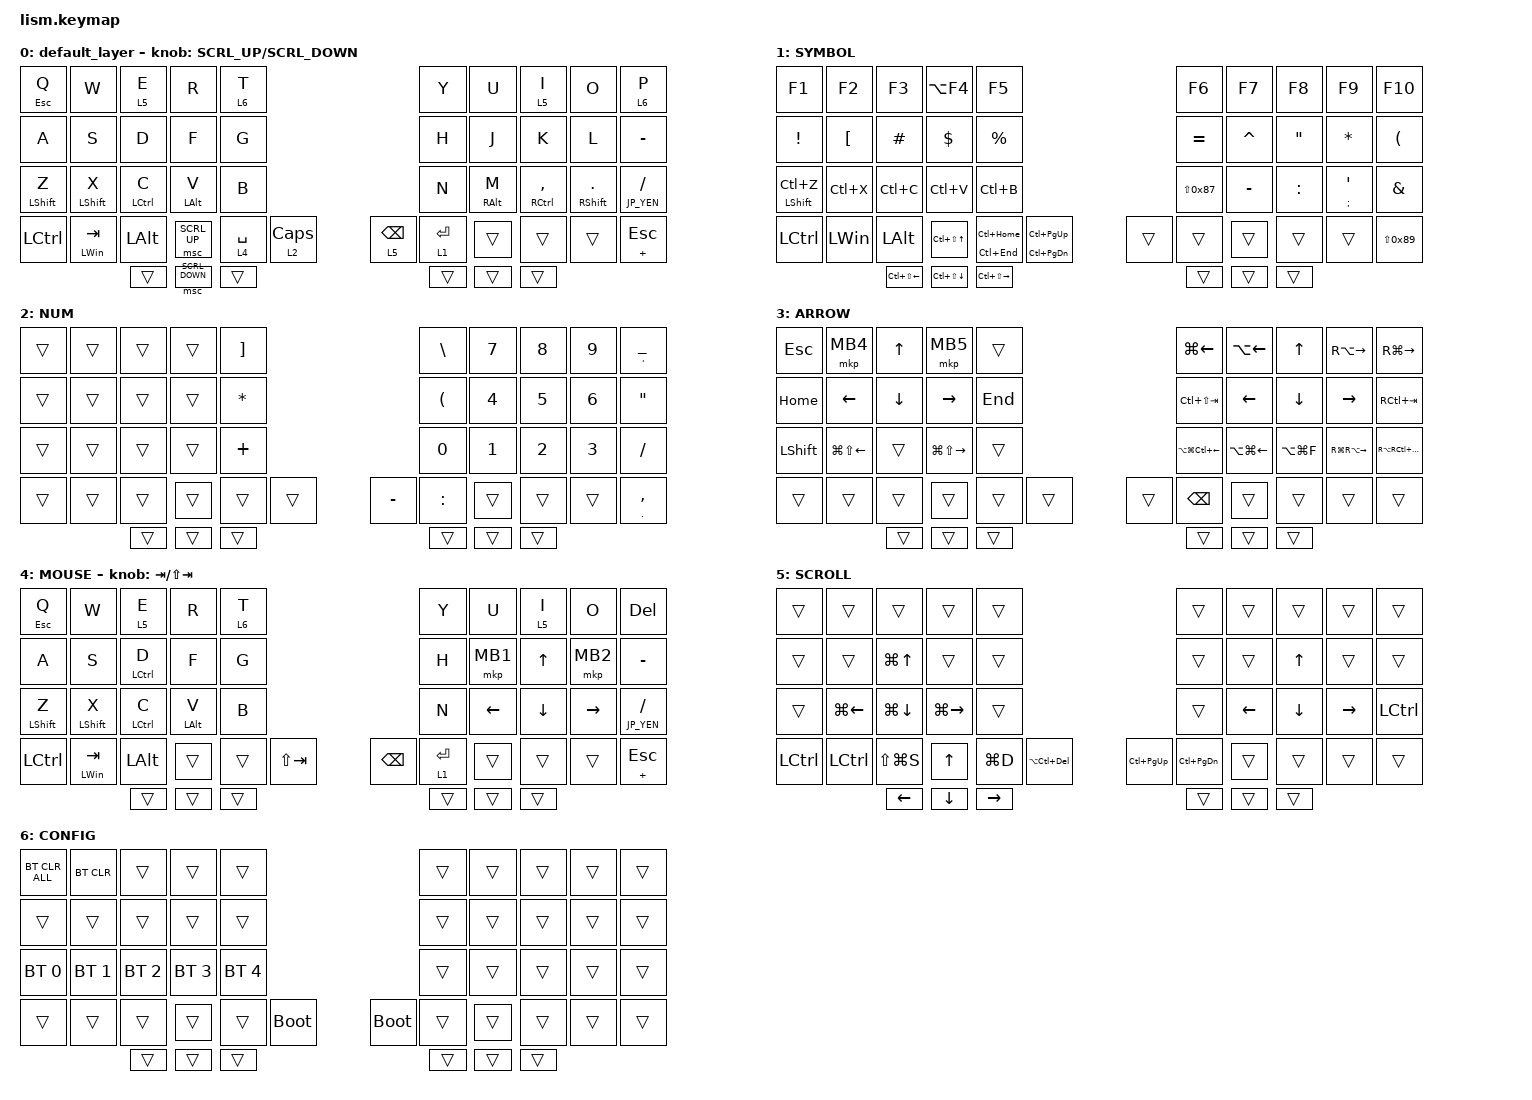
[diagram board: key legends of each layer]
#define ZMK_POINTING_DEFAULT_SCRL_VAL 200

#include <behaviors.dtsi>
#include <dt-bindings/zmk/bt.h>
#include <dt-bindings/zmk/keys.h>
#include <dt-bindings/zmk/pointing.h>
#include <dt-bindings/zmk/mouse.h>

// OS設定を日本語キーボードのまま使用するための変換定義
#define JP_DQUOTE       AT                // "
#define JP_AMPERSAND    CARET             // &
#define JP_QUOTE        AMPERSAND         // '
#define JP_EQUAL        UNDER             // =
#define JP_CARET        EQUAL             // ^
#define JP_YEN          0x89              // ¥
#define JP_PLUS         COLON             // +
#define JP_TILDE        PLUS              // ~
#define JP_PIPE         LS(0x89)          // |
#define JP_AT           LEFT_BRACKET      // @
#define JP_COLON        SINGLE_QUOTE      // :
#define JP_ASTERISK     DOUBLE_QUOTES     // *
#define JP_BACKQUOTE    LEFT_BRACE        // `
#define JP_UNDERSCORE   LS(0x87)          // _
#define JP_LBRACKET     RIGHT_BRACKET     // [
#define JP_RBRACKET     BACKSLASH         // ]
#define JP_LPAREN       ASTERISK          // (
#define JP_RPAREN       LEFT_PARENTHESIS  // )
#define JP_LBRACE       RIGHT_BRACE       // {
#define JP_RBRACE       PIPE              // }
#define JP_KANA         LANGUAGE_1        // かな
#define JP_EISU         LANGUAGE_2        // 英数
#define JP_HANZEN       GRAVE             // 半角/全角

/******************************************
左手側                                                    右手側
┌──────┬──────┬──────┬──────┬──────┬──────┐    ┌──────┬──────┬──────┬──────┬──────┬──────┐
│   0  │   1  │   2  │   3  │   4  │      │    │      │   5  │   6  │   7  │   8  │   9  │
├──────┼──────┼──────┼──────┼──────┼──────┤    ├──────┼──────┼──────┼──────┼──────┼──────┤
│  10  │  11  │  12  │  13  │  14  │      │    │      │  15  │  16  │  17  │  18  │  19  │
├──────┼──────┼──────┼──────┼──────┼──────┤    ├──────┼──────┼──────┼──────┼──────┼──────┤
│  20  │  21  │  22  │  23  │  24  │      │    │      │  25  │  26  │  27  │  28  │  29  │
├──────┼──────┼──────┼──────┼──────┼──────┤    ├──────┼──────┼──────┼──────┼──────┼──────┤
│  30  │  31  │  32  │  33  │  34  │  35  │    │  36  │  37  │  38  │  39  │  40  │  41  │
└──────┴──────┼──────┬──────┬──────┼──────┘    └──────┼──────┬──────┬──────┼──────┴──────┘
              │  42  │  43  │  44  │                  │  45  │  46  │  47  │
              └──────┴──────┴──────┘                  └──────┴──────┴──────┘
******************************************/

&mt {
    tapping-term-ms = <300>;
    flavor = "balanced";
};

&lt {
    quick-tap-ms = <300>;
};


/ {
// コンボ追加
    combos {
        compatible = "zmk,combos";

        combo_del {
            timeout-ms = <50>;
            key-positions = <9 19>;
            bindings = <&kp DELETE>;
        };

        combo_lc_pgup {
            timeout-ms = <50>;
            key-positions = <34 35>;
            bindings = <&lt 4 LC(PAGE_UP)>;
        };

        combo_lc_pgdn {
            timeout-ms = <50>;
            key-positions = <36 37>;
            bindings = <&kp LC(PAGE_DOWN)>;
        };

        combo_lclk {
            timeout-ms = <50>;
            key-positions = <16 17>;
            bindings = <&mkp LCLK>;
        };

        combo_rclk {
            timeout-ms = <50>;
            key-positions = <17 18>;
            bindings = <&mkp RCLK>;
        };

        combo_mclk {
            bindings = <&mkp MCLK>;
            key-positions = <16 18>;
        };

        combo_esc {
            bindings = <&kp ESCAPE>;
            key-positions = <11 12>;
        };

        combo_tab {
            bindings = <&kp TAB>;
            key-positions = <12 13>;
        };
    };
// 追加ここまで

    macros {
        emoji: emoji_macro {
            compatible = "zmk,behavior-macro";
            label = "EMOJI";
            #binding-cells = <0>;
            bindings = 
                <&macro_press &kp CAPSLOCK>,
                <&macro_tap &kp E>,
                <&macro_release &kp CAPSLOCK>;
        };
    };

    behaviors {
        encoder_msc: sensor_rotate_msc {
            compatible = "zmk,behavior-sensor-rotate-var";
            #sensor-binding-cells = <2>;
            bindings = <&msc>, <&msc>;
            tap-ms = <20>;
        };

        encoder_kp: sensor_rotate_kp {
            compatible = "zmk,behavior-sensor-rotate-var";
            #sensor-binding-cells = <2>;
            bindings = <&kp>, <&kp>;
        };
    };

    keymap {
        compatible = "zmk,keymap";

        default_layer {
/***************
左手側                                                    右手側
┌──────┬──────┬──────┬──────┬──────┬──────┐    ┌──────┬──────┬──────┬──────┬──────┬──────┐
│   q  │   w  │   e  │   r  │   t  │      │    │      │   y  │   u  │   i  │   o  │   p  │
├──────┼──────┼──────┼──────┼──────┼──────┤    ├──────┼──────┼──────┼──────┼──────┼──────┤
│   a  │   s  │   d  │   f  │   g  │      │    │      │   h  │   j  │   k  │   l  │   -  │
├──────┼──────┼──────┼──────┼──────┼──────┤    ├──────┼──────┼──────┼──────┼──────┼──────┤
│   z  │   x  │   c  │   v  │   b  │      │    │      │   n  │   m  │   ,  │   .  │   /  │
├──────┼──────┼──────┼──────┼──────┼──────┤    ├──────┼──────┼──────┼──────┼──────┼──────┤
│ ctrl │  win │  alt │      │  sp  │ cpas │    │  bs  │  ent │      │      │      │  esc │
└──────┴──────┼──────┬──────┬──────┼──────┘    └──────┼──────┬──────┬──────┼──────┴──────┘
              │      │      │      │                  │      │      │      │
              └──────┴──────┴──────┘                  └──────┴──────┴──────┘
***************/
            bindings = <
&mt ESCAPE Q      &kp W             &lt 5 E       &kp R           &lt 6 T                                     &kp Y        &kp U            &lt 5 I          &kp O                   &lt 6 P
&kp A             &kp S             &kp D         &kp F           &kp G                                       &kp H        &kp J            &kp K            &kp L                   &kp MINUS
&mt LEFT_SHIFT Z  &mt LEFT_SHIFT X  &mt LCTRL C   &mt LEFT_ALT V  &kp B                                       &kp N        &mt RIGHT_ALT M  &mt RCTRL COMMA  &mt RIGHT_SHIFT PERIOD  &mt JP_YEN SLASH
&kp LCTRL         &mt LEFT_WIN TAB  &kp LEFT_ALT  &msc SCRL_UP    &lt 4 SPACE  &lt 2 CAPS      &lt 5 BACKSPACE  &lt 1 ENTER  &trans           &trans           &trans                  &mt JP_TILDE ESCAPE
                                    &trans        &msc SCRL_DOWN  &trans                       &trans &trans &trans
            >;

            // sensor-bindings = <&inc_dec_kp PG_UP PAGE_DOWN>;
			// sensor-bindings = <&encoder_msc_down_up>;
           sensor-bindings = <&encoder_msc SCRL_UP SCRL_DOWN>;

        };

        SYMBOL {
/***************
左手側                                                    右手側
┌──────┬──────┬──────┬──────┬──────┬──────┐    ┌──────┬──────┬──────┬──────┬──────┬──────┐
│  f1  │  f2  │  f3  │  f4  │  f5  │      │    │      │  f6  │  f7  │  f8  │  f9  │  f10 │
├──────┼──────┼──────┼──────┼──────┼──────┤    ├──────┼──────┼──────┼──────┼──────┼──────┤
│   !  │   @  │   #  │   $  │   %  │      │    │      │   ^  │   &  │   *  │   (  │   )  │
├──────┼──────┼──────┼──────┼──────┼──────┤    ├──────┼──────┼──────┼──────┼──────┼──────┤
│  c+z │  c+x │  c+c │  c+v │  c+b │      │    │      │   _  │   -  │   +  │   :  │   '  │
├──────┼──────┼──────┼──────┼──────┼──────┤    ├──────┼──────┼──────┼──────┼──────┼──────┤
│ ctrl │  win │  alt │ c+pu │ c+hm │ c+pd │    │      │      │      │      │      │   |  │
└──────┴──────┼──────┬──────┬──────┼──────┘    └──────┼──────┬──────┬──────┼──────┴──────┘
              │      │      │      │                  │      │      │      │
              └──────┴──────┴──────┘                  └──────┴──────┴──────┘
***************/
            bindings = <
&kp F1                   &kp F2        &kp F3        &kp LA(F4)             &kp F5                                                       &kp F6             &kp F7            &kp F8           &kp F9                   &kp F10
&kp EXCLAMATION          &kp JP_AT     &kp HASH      &kp DOLLAR             &kp PERCENT                                                  &kp JP_CARET       &kp JP_AMPERSAND  &kp JP_ASTERISK  &kp JP_LPAREN            &kp JP_RPAREN
&mt LEFT_SHIFT LC(Z)     &kp LC(X)     &kp LC(C)     &kp LC(V)              &kp LC(B)                                                    &kp JP_UNDERSCORE  &kp MINUS         &kp JP_PLUS      &mt SEMICOLON JP_COLON   &kp JP_QUOTE
&kp LCTRL                &kp LEFT_WIN  &kp LEFT_ALT  &kp LC(LS(UP_ARROW))   &mt LC(END) LC(HOME)    &mt LC(PAGE_DOWN) LC(PAGE_UP)  &trans  &trans             &trans            &trans           &trans                   &kp JP_PIPE
                              &kp LC(LS(LEFT_ARROW)) &kp LC(LS(DOWN_ARROW)) &kp LC(LS(RIGHT_ARROW))                                &trans &trans &trans
            >;
        };

        NUM {
/***************
左手側                                                    右手側
┌──────┬──────┬──────┬──────┬──────┬──────┐    ┌──────┬──────┬──────┬──────┬──────┬──────┐
│      │      │      │      │   [  │      │    │      │   ]  │   7  │   8  │   9  │   =  │
├──────┼──────┼──────┼──────┼──────┼──────┤    ├──────┼──────┼──────┼──────┼──────┼──────┤
│      │      │      │      │   (  │      │    │      │   )  │   4  │   5  │   6  │   *  │
├──────┼──────┼──────┼──────┼──────┼──────┤    ├──────┼──────┼──────┼──────┼──────┼──────┤
│      │      │      │      │   ~  │      │    │      │   0  │   1  │   2  │   3  │   /  │
├──────┼──────┼──────┼──────┼──────┼──────┤    ├──────┼──────┼──────┼──────┼──────┼──────┤
│      │      │      │      │      │      │    │   -  │   +  │      │      │      │   ,  │
└──────┴──────┼──────┬──────┬──────┼──────┘    └──────┼──────┬──────┬──────┼──────┴──────┘
              │      │      │      │                  │      │      │      │
              └──────┴──────┴──────┘                  └──────┴──────┴──────┘
***************/
            bindings = <
&trans  &trans  &trans   &trans   &kp JP_LBRACKET              &kp JP_RBRACKET  &kp NUMBER_7  &kp NUMBER_8  &kp NUMBER_9  &mt JP_COLON JP_EQUAL
&trans  &trans  &trans   &trans   &kp JP_LPAREN                &kp JP_RPAREN    &kp NUMBER_4  &kp NUMBER_5  &kp NUMBER_6  &kp JP_ASTERISK
&trans  &trans  &trans   &trans   &kp JP_TILDE                 &kp NUMBER_0     &kp NUMBER_1  &kp NUMBER_2  &kp NUMBER_3  &kp SLASH
&trans  &trans  &trans   &trans   &trans   &trans      &kp MINUS  &kp JP_PLUS   &trans        &trans        &trans        &mt PERIOD COMMA
&trans &trans &trans &trans &trans &trans
            >;
        };

        ARROW {

            bindings = <
&kp ESCAPE      &mkp MB4                &kp UP_ARROW    &mkp MB5                 &trans                       &kp LG(LEFT_ARROW)          &kp LA(LEFT_ARROW)      &kp UP_ARROW    &kp RA(RIGHT_ARROW)      &kp RG(RIGHT_ARROW)
&kp HOME        &kp LEFT_ARROW          &kp DOWN_ARROW  &kp RIGHT_ARROW          &kp END                      &kp LC(LS(TAB))             &kp LEFT_ARROW          &kp DOWN_ARROW  &kp RIGHT_ARROW          &kp RC(TAB)
&kp LEFT_SHIFT  &kp LG(LS(LEFT_ARROW))  &trans          &kp LG(LS(RIGHT_ARROW))  &trans                       &kp LA(LG(LC(LEFT_ARROW)))  &kp LA(LG(LEFT_ARROW))  &kp LA(LG(F))   &kp RG(RA(RIGHT_ARROW))  &kp RA(RC(RG(RIGHT_ARROW)))
&trans          &trans                  &trans          &trans                   &trans   &trans      &trans  &kp BACKSPACE               &trans                  &trans          &trans                   &trans
&trans &trans &trans &trans &trans &trans
            >;

            // sensor-bindings = <&inc_dec_kp LC(PAGE_UP) LC(PAGE_DOWN)>;
        };

        MOUSE {
/***************
左手側                                                    右手側
┌──────┬──────┬──────┬──────┬──────┬──────┐    ┌──────┬──────┬──────┬──────┬──────┬──────┐
│   q  │   w  │   e  │   r  │   t  │      │    │      │   y  │   u  │  l6  │   o  │   p  │
├──────┼──────┼──────┼──────┼──────┼──────┤    ├──────┼──────┼──────┼──────┼──────┼──────┤
│   a  │   s  │   d  │   f  │   g  │      │    │      │   h  │  mb1 │   ↑  │  mb2 │   -  │
├──────┼──────┼──────┼──────┼──────┼──────┤    ├──────┼──────┼──────┼──────┼──────┼──────┤
│   z  │   x  │   c  │   v  │   b  │      │    │      │   n  │   ←  │   ↓  │   →  │   /  │
├──────┼──────┼──────┼──────┼──────┼──────┤    ├──────┼──────┼──────┼──────┼──────┼──────┤
│ ctrl │  win │  alt │      │      │      │    │  bs  │  ent │      │      │      │  esc │
└──────┴──────┼──────┬──────┬──────┼──────┘    └──────┼──────┬──────┬──────┼──────┴──────┘
              │      │      │      │                  │      │      │      │
              └──────┴──────┴──────┘                  └──────┴──────┴──────┘
***************/
            bindings = <
&mt ESCAPE Q      &kp W             &lt 5 E       &kp R               &lt 6 T                                   &kp Y       &kp U            &lt 5 I         &kp O            &kp DELETE
&kp A             &kp S             &mt LCTRL D   &kp F               &kp G                                     &kp H       &mkp MB1         &kp UP_ARROW    &mkp MB2         &kp MINUS
&mt LEFT_SHIFT Z  &mt LEFT_SHIFT X  &mt LCTRL C   &mt LEFT_ALT V      &kp B                                     &kp N       &kp LEFT_ARROW   &kp DOWN_ARROW  &kp RIGHT_ARROW  &mt JP_YEN SLASH
&kp LCTRL         &mt LEFT_WIN TAB  &kp LEFT_ALT  &trans              &trans    &kp LS(TAB)      &kp BACKSPACE  &lt 1 ENTER &trans           &trans          &trans           &mt JP_TILDE ESCAPE
&trans &trans &trans &trans &trans &trans
            >;

            sensor-bindings = <&inc_dec_kp TAB LS(TAB)>;

        };

        SCROLL {
            bindings = <
&trans     &trans              &trans              &trans               &trans                                        &trans            &trans          &trans          &trans           &trans
&trans     &trans              &kp LG(UP_ARROW)    &trans               &trans                                        &trans            &trans          &kp UP_ARROW    &trans           &trans
&trans     &kp LG(LEFT_ARROW)  &kp LG(DOWN_ARROW)  &kp LG(RIGHT_ARROW)  &trans                                        &trans            &kp LEFT_ARROW  &kp DOWN_ARROW  &kp RIGHT_ARROW  &kp LCTRL
&kp LCTRL  &kp LCTRL           &kp LS(LG(S))       &kp UP_ARROW         &kp LG(D)  &kp LA(LC(DEL))   &kp LC(PAGE_UP)  &kp LC(PAGE_DOWN) &trans          &trans          &trans           &trans
                                  &kp LEFT_ARROW   &kp DOWN_ARROW  &kp RIGHT_ARROW                   &trans &trans &trans
            >;
        };

        CONFIG {
/***************
左手側                                                    右手側
┌──────┬──────┬──────┬──────┬──────┬──────┐    ┌──────┬──────┬──────┬──────┬──────┬──────┐
│cl_all│  clr │      │      │      │      │    │      │      │      │      │      │      │
├──────┼──────┼──────┼──────┼──────┼──────┤    ├──────┼──────┼──────┼──────┼──────┼──────┤
│      │      │      │      │      │      │    │      │      │      │      │      │      │
├──────┼──────┼──────┼──────┼──────┼──────┤    ├──────┼──────┼──────┼──────┼──────┼──────┤
│  bt0 │  bt1 │  bt2 │  bt3 │  bt4 │      │    │      │      │      │      │      │      │
├──────┼──────┼──────┼──────┼──────┼──────┤    ├──────┼──────┼──────┼──────┼──────┼──────┤
│      │      │      │      │      │ boot │    │ boot │      │      │      │      │      │
└──────┴──────┼──────┬──────┬──────┼──────┘    └──────┼──────┬──────┬──────┼──────┴──────┘
              │      │      │      │                  │      │      │      │
              └──────┴──────┴──────┘                  └──────┴──────┴──────┘
***************/
            bindings = <
&bt BT_CLR_ALL  &bt BT_CLR    &trans        &trans        &trans                                      &trans  &trans  &trans  &trans  &trans
&trans          &trans        &trans        &trans        &trans                                      &trans  &trans  &trans  &trans  &trans
&bt BT_SEL 0    &bt BT_SEL 1  &bt BT_SEL 2  &bt BT_SEL 3  &bt BT_SEL 4                                &trans  &trans  &trans  &trans  &trans
&trans          &trans        &trans        &trans        &trans        &bootloader      &bootloader  &trans  &trans  &trans  &trans  &trans
&trans &trans &trans &trans &trans &trans
            >;
        };
    };

/********オリジナルのkeymapセクション
    keymap {
        compatible = "zmk,keymap";

        default_layer {
            display-name = "Default Layer";
            bindings = <
                &kp Q            &kp W              &kp E                 &kp R                   &kp T                                                  &kp Y          &kp U            &kp I              &kp O               &kp P
                &kp A            &mt LALT S         &mt LSHIFT D          &mt LGUI F              &mt LCTRL G                                            &mt RCTRL H    &mt RGUI J       &mt RSHIFT K       &mt RALT L          &lt 3 SEMICOLON
                &kp Z            &kp X              &kp C                 &kp V                   &kp B                                                  &kp N          &kp M            &kp COMMA          &kp DOT             &kp SLASH
                &lt 4 DELETE     &tog 1             &lt 1 TAB             &msc SCRL_UP            &lt 2 SPACE       &lt 3 ESC           &lt 3 BACKSPACE  &lt 2 ENTER    &msc SCRL_UP     &kp F7             &kp F10             &lt 4 F12 
                                                    &msc SCRL_LEFT        &msc SCRL_DOWN          &msc SCRL_RIGHT                                        &msc SCRL_LEFT &msc SCRL_DOWN   &msc SCRL_RIGHT
            >;
            sensor-bindings = <&encoder_msc SCRL_UP SCRL_DOWN>;
        };

        layer_1 {
            display-name = "Mouse Layer";
            bindings = <
                &trans           &trans             &trans                &trans                  &trans                                                 &kp SPACE      &kp RG(LEFT)     &kp RG(RIGHT)      &mkp MB3            &trans
                &mkp MB5         &trans             &trans                &trans                  &trans                                                 &kp LG(UP)     &mkp MB1         &mkp MB2           &msc SCRL_UP        &msc SCRL_DOWN
                &mkp MB4         &trans             &trans                &trans                  &trans                                                 &kp LG(DOWN)   &kp LEFT         &kp UP             &kp RIGHT           &trans
                &trans           &trans             &trans                &trans                  &trans            &trans              &trans           &trans         &trans           &kp DOWN           &trans              &kp LG(W)
                                                    &trans                &trans                  &trans                                                 &trans         &trans           &trans
            >;
        };

        layer_2 {
            display-name = "Number Layer";
            bindings = <
                &trans           &kp NUMBER_7       &kp NUMBER_8          &kp NUMBER_9            &kp EQUAL                                              &kp F1         &kp F2           &kp F7             &kp F10             &kp RSHIFT
                &kp ASTERISK     &mt LALT NUMBER_4  &mt LSHIFT NUMBER_5   &mt LGUI NUMBER_6       &mt LCTRL MINUS                                        &mkp MB1       &kp LEFT         &kp UP             &kp RIGHT           &kp RGUI
                &kp SLASH        &kp NUMBER_1       &kp NUMBER_2          &kp NUMBER_3            &kp PLUS                                               &mkp MB2       &none            &kp DOWN           &none               &kp RALT
                &trans           &kp DOT            &kp NUMBER_0          &kp UP                  &kp LANG2         &trans              &trans           &kp LANG1      &kp UP           &kp RS(RC(TAB))    &kp RC(TAB)         &kp F12 
                                                    &kp LEFT              &kp DOWN                &kp RIGHT                                              &kp LEFT       &kp DOWN         &kp RIGHT
            >;
            sensor-bindings = <&encoder_kp C_VOL_UP C_VOL_DN>;
        };

        layer_3 {
            display-name = "Mark Layer";
            bindings = <
                &kp LS(LG(N4))   &kp F4             &kp LEFT_PARENTHESIS  &kp RIGHT_PARENTHESIS   &none                                                  &kp TILDE      &kp EXCLAMATION  &kp AT_SIGN        &kp HASH            &kp DOLLAR
                &emoji           &kp F5             &kp LEFT_BRACKET      &kp RIGHT_BRACKET       &none                                                  &kp GRAVE      &kp UNDER        &kp SINGLE_QUOTE   &kp DOUBLE_QUOTES   &kp BACKSLASH
                &kp KP_NUMLOCK   &kp F11            &kp LEFT_BRACE        &kp RIGHT_BRACE         &none                                                  &kp PIPE       &kp PERCENT      &kp CARET          &kp AMPERSAND       &kp ASTERISK
                &trans           &trans             &kp NUMBER_0          &trans                  &kp SPACE         &trans              &trans           &kp ENTER      &trans           &none              &none               &kp F12 
                                                    &trans                &trans                  &trans                                                 &trans         &trans           &trans
            >;
        };

        layer_4 {
            display-name = "Device Layer";
            bindings = <
                &none            &none              &none                 &none                   &bt BT_CLR                                             &bt BT_SEL 0   &bt BT_SEL 1     &bt BT_SEL 2       &bt BT_SEL 3        &bt BT_SEL 4
                &none            &none              &none                 &none                   &none                                                  &none          &none            &none              &none               &none
                &sys_reset       &none              &none                 &none                   &none                                                  &none          &none            &none              &none               &sys_reset
                &bootloader      &bt BT_CLR_ALL     &none                 &none                   &none             &none               &studio_unlock   &none          &none            &none              &none               &bootloader
                                                    &trans                &trans                  &trans                                                 &trans         &trans           &trans
            >;
        };

        layer_5 {
            status = "reserved";
            display-name = "Brank Layer";
            bindings = <
                &trans           &trans             &trans                &trans                  &trans                                                 &trans       &trans           &trans             &trans              &trans
                &trans           &trans             &trans                &trans                  &trans                                                 &trans       &trans           &trans             &trans              &trans
                &trans           &trans             &trans                &trans                  &trans                                                 &trans       &trans           &trans             &trans              &trans
                &trans           &trans             &trans                &trans                  &trans            &trans              &trans           &trans       &trans           &trans             &trans              &trans
                                                    &trans                &trans                  &trans                                                 &trans       &trans           &trans
            >;
        };

        layer_6 {
            status = "reserved";
            display-name = "Brank Layer";
            bindings = <
                &trans           &trans             &trans                &trans                  &trans                                                 &trans       &trans           &trans             &trans              &trans
                &trans           &trans             &trans                &trans                  &trans                                                 &trans       &trans           &trans             &trans              &trans
                &trans           &trans             &trans                &trans                  &trans                                                 &trans       &trans           &trans             &trans              &trans
                &trans           &trans             &trans                &trans                  &trans            &trans              &trans           &trans       &trans           &trans             &trans              &trans
                                                    &trans                &trans                  &trans                                                 &trans       &trans           &trans
            >;
        };

        layer_7 {
            status = "reserved";
            display-name = "Brank Layer";
            bindings = <
                &trans           &trans             &trans                &trans                  &trans                                                 &trans       &trans           &trans             &trans              &trans
                &trans           &trans             &trans                &trans                  &trans                                                 &trans       &trans           &trans             &trans              &trans
                &trans           &trans             &trans                &trans                  &trans                                                 &trans       &trans           &trans             &trans              &trans
                &trans           &trans             &trans                &trans                  &trans            &trans              &trans           &trans       &trans           &trans             &trans              &trans
                                                    &trans                &trans                  &trans                                                 &trans       &trans           &trans
            >;
        };
    };
********/
};
